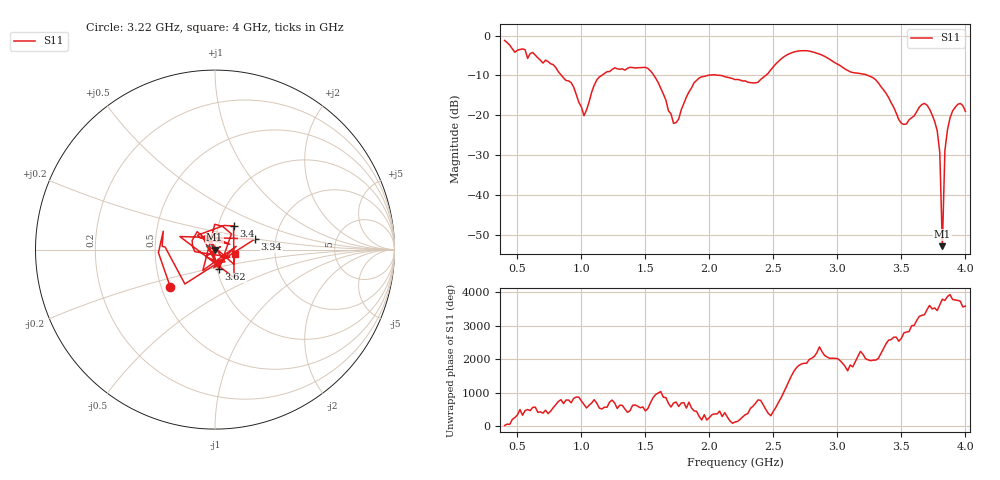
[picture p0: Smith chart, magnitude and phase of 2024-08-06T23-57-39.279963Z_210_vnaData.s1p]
!Created with skrf (http://scikit-rf.org).
# Hz S RI R 50.0
!freq ReS11 ImS11
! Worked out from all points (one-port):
!   181 points, 400 MHz to 4 GHz, reference 50 ohm
!   lowest |S11| = -52.9 dB at 3.82 GHz (marker M1), VSWR 1.00, Z = 49.8 - j0.059 ohm
!   |S11| at or under -10 dB: 1.567 GHz to 1.987 GHz (419.9 MHz wide, 23.6 % of centre); 2.087 GHz to 2.44 GHz (353.4 MHz wide, 15.6 % of centre); 3.239 GHz to end of sweep (the widest 3 of 4)
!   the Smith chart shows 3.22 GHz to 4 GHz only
!   S11 on the Smith chart (normalised r, x): 3.22 GHz: 0.56, -0.26; 3.34 GHz: 1.56, +0.19; 3.4 GHz: 1.18, +0.32; 3.62 GHz: 1.02, -0.23; 4 GHz: 1.25, -0.06
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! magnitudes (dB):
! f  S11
! 400 MHz  -1.2
! 860 MHz  -10.6
! 940 MHz  -13.0
! 1.02 GHz  -20.1
! 1.12 GHz  -11.1
! 1.3 GHz  -8.4
! 1.52 GHz  -8.2
! 1.72 GHz  -22.0
! 1.76 GHz  -20.9
! 1.92 GHz  -10.6
! 2.2 GHz  -11.0
! 2.38 GHz  -11.7
! 2.66 GHz  -4.1
! 3.1 GHz  -9.1
! 3.22 GHz  -9.8
! 3.34 GHz  -12.8
! 3.4 GHz  -15.5
! 3.5 GHz  -22.0
! 3.56 GHz  -21.1
! 3.62 GHz  -19.1
! 3.7 GHz  -17.4
! 3.78 GHz  -23.9
! 3.8 GHz  -29.4
! 3.82 GHz  -52.9
! 3.84 GHz  -28.9
! 3.86 GHz  -23.6
! 3.94 GHz  -17.3
! 4 GHz  -19.0
